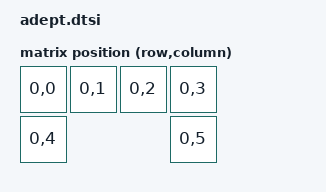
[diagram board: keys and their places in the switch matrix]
#include "adept-layouts.dtsi"
#include <dt-bindings/zmk/matrix_transform.h>

&physical_layout0 {
    transform = <&matrix_transform>;
};

/ {
    chosen {
        zmk,kscan = &kscan0;
        zmk,physical-layout = &physical_layout0;
    };

    matrix_transform: keymap_transform_0 {
        compatible = "zmk,matrix-transform";
        columns = <6>;
        rows = <1>;

        map = <
            RC(0,0) RC(0,1) RC(0,2) RC(0,3)
            RC(0,4)                 RC(0,5)
        >;
    };
};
